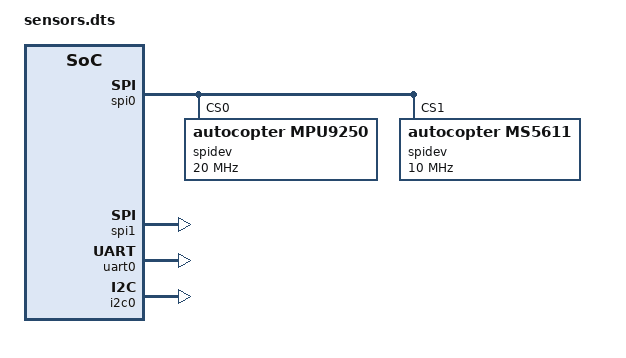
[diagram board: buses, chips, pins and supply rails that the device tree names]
/dts-v1/;
/plugin/;

/ {
    compatible = "avnet,picozed";

    /* IMU on FMC card */
    fragment@0 {
        target = <&spi0>;
        __overlay__ {
            #address-cells = <1>;
            #size-cells = <0>;

            status = "okay";

            /* MPU-9250 max 20MHz */
            spidev@0{
                compatible = "autocopter,mpu9250";
                reg = <0>; /* chipselect 0 */
                spi-max-frequency= <20000000>;
            };

            /* MS5611 max 10MHz */
            spidev@1{
                compatible = "autocopter,ms5611";
                reg = <1>; /* chipselect 1 */
                spi-max-frequency= <10000000>;
            };
        };
    };

    /* SPI Interface on FMC card */
    fragment@1 {
        target = <&spi1>;
        __overlay__ {
            status = "okay";
        };
    };

    /* SERIAL2 on FMC card */
    fragment@2 {
        target = <&uart0>;
        __overlay__ {
            status = "okay";
        };
    };

    /* I2C interface on FMC card */
    fragment@3 {
        target = <&i2c0>;
        __overlay__ {
            status = "okay";
        };
    };
};
